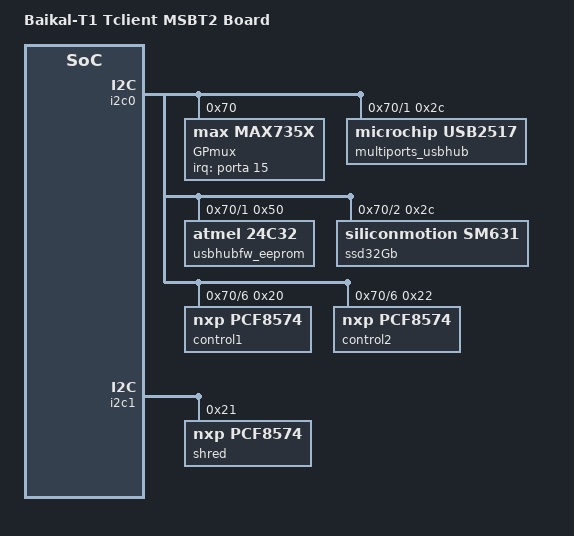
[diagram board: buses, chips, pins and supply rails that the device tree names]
/*
 * Baikal-T1 Tclient MSBT2 board device tree
 *
 * Copyright (C) 2018 T-platforms JSC
 *
 * This program is free software; you can redistribute it and/or
 * modify it under the terms of the GNU General Public License
 * as published by the Free Software Foundation; either version 2
 * of the License, or (at your option) any later version.
 */

/dts-v1/;

#include "tplatforms_msbt2.dtsi"

/ {
	model = "Baikal-T1 Tclient MSBT2 Board";
	compatible = "baikal,mips", "baikal,baikal-t1-soc", "tplatforms,baikal-msbt2-card", "tplatforms,baikal-tc-msbt2-board";

	reserved-memory {
		#address-cells = <2>;
		#size-cells = <2>;
		ranges;

		display_reserved: framebuffer@0x07000000 {
			reg = <0 0x07000000 0 0x01000000>;
		};
	};

	platform_setting {
		sm750,backlight-gpios = <&porta 29 GPIO_ACTIVE_HIGH>,
					<&porta 31 GPIO_ACTIVE_HIGH>;
		sm750,backlight-pwm = <0>;
	};
};

&mdio0 {
	status = "disabled";
};

&xgmac {
	status = "disabled";
};

&i2c0 {
	status = "okay";

	GPmux: max7358@70 {
		#address-cells = <1>;
		#size-cells = <0>;
		compatible = "max,max735x";
		reg = <0x70>;
		interrupt-parent = <&porta>;
		interrupts = <15 IRQ_TYPE_LEVEL_LOW>;

		i2c@1 {
			#address-cells = <1>;
			#size-cells = <0>;
			reg = <0x1>;

			multiports_usbhub: usb2517@2c {
				compatible = "microchip,usb2517";
				reg = <0x2c>;

				/* Configs are set by BMC (if not see doc for details) */
				/* reset-gpios = <&control1 3 GPIO_ACTIVE_LOW>; */
				skip-config;
		        };

			usbhubfw_eeprom: eeprom@53 {
				compatible = "atmel,24c32";
				reg = <0x50>;
				pagesize = <32>;
			};
		};

		i2c@2 {
			#address-cells = <1>;
			#size-cells = <0>;
			reg = <0x2>;

			ssd32Gb: sm631@2C {
				compatible = "siliconmotion,sm631";
				reg = <0x2C>;
			};
		};

		i2c@6 {
			#address-cells = <1>;
			#size-cells = <0>;
			reg = <0x6>;

			control1: gpio@20 {
				compatible = "nxp,pcf8574";
				reg = <0x20>;
				gpio-controller;
				#gpio-cells = <2>;
				ngpios = <8>; /* Informative */
			};

			control2: gpio@22 {
				compatible = "nxp,pcf8574";
				reg = <0x22>;
				gpio-controller;
				#gpio-cells = <2>;
				ngpios = <8>; /* Informative */
			};
		};
	};
};

&i2c1 {
	status = "okay";

	shred: gpio@21 {
		compatible = "nxp,pcf8574";
		reg = <0x21>;
		gpio-controller;
		#gpio-cells = <2>;
		ngpios = <8>; /* Informative */
	};

	/* Already exists on MSBT2 */
	/*fru: eeprom@53 {
		compatible = "atmel,24c32";
		reg = <0x53>;
		pagesize = <32>;
	};*/
};

&spi0 {
	status = "disabled";
};

&spi1 {
	status = "disabled";
};
